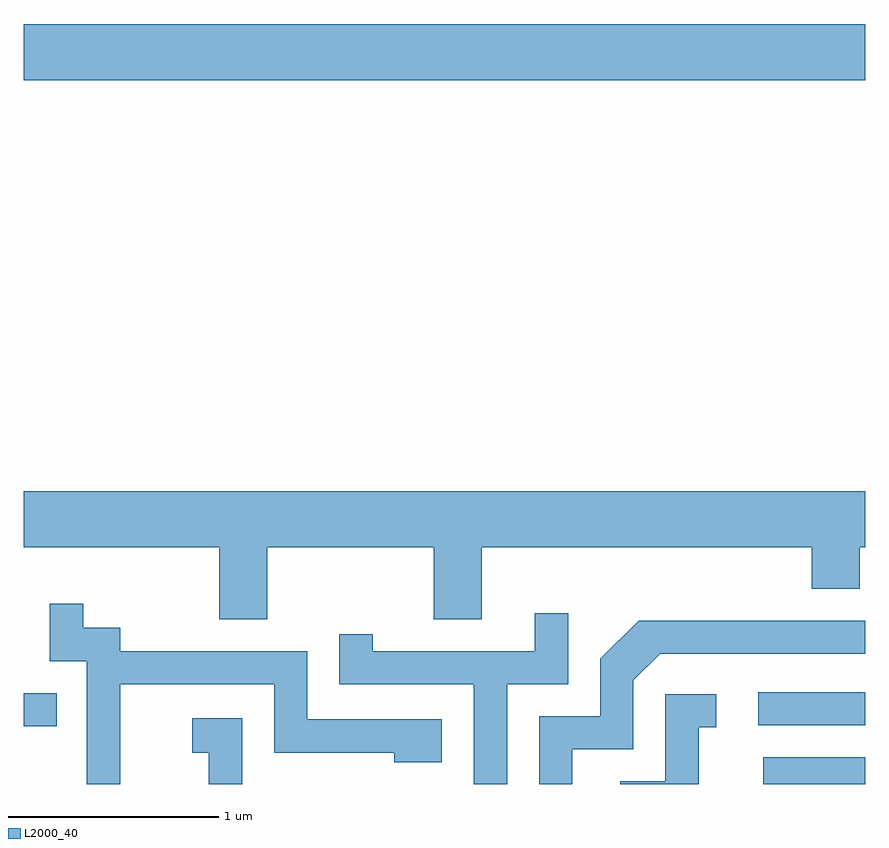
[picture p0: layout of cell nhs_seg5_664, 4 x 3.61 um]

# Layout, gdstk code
import gdstk
lib = gdstk.Library(unit=1e-6, precision=1e-09)
def R(c, l, rs):  # rectangles x0, y0, x1, y1
    for r in rs: c.add(gdstk.rectangle(r[:2], r[2:], *l))
def P(c, l, *ps):  # polygons
    for p in ps: c.add(gdstk.Polygon(p, *l))
L2000_40 = (2000, 40)

nhs_seg5_664 = lib.new_cell('nhs_seg5_664')
R(nhs_seg5_664, L2000_40, [(207.126,1500.072,207.611,1500.199), (203.611,1500.346,203.768,1500.504), (207.103,1500.351,207.611,1500.509), (203.611,1503.416,207.611,1503.684)])
P(nhs_seg5_664, L2000_40, [(204.769,1501.196),(205.561,1501.196),(205.561,1500.856),(205.789,1500.856),(205.789,1501.196),(207.356,1501.196),(207.356,1501.001),(207.584,1501.001),(207.584,1501.196),(207.611,1501.196),(207.611,1501.464),(203.611,1501.464),(203.611,1501.196),(204.541,1501.196),(204.541,1500.856),(204.769,1500.856)],
  [(204.069,1500.546),(204.801,1500.546),(204.801,1500.221),(205.371,1500.221),(205.371,1500.176),(205.599,1500.176),(205.599,1500.379),(204.959,1500.379),(204.959,1500.704),(204.069,1500.704),(204.069,1500.814),(203.894,1500.814),(203.894,1500.928),(203.736,1500.928),(203.736,1500.656),(203.911,1500.656),(203.911,1500.072),(204.069,1500.072)],
  [(205.909,1500.546),(206.199,1500.546),(206.199,1500.883),(206.041,1500.883),(206.041,1500.704),(205.269,1500.704),(205.269,1500.783),(205.111,1500.783),(205.111,1500.546),(205.751,1500.546),(205.751,1500.072),(205.909,1500.072)],
  [(206.219,1500.236),(206.509,1500.236),(206.509,1500.564),(206.637,1500.691),(207.611,1500.691),(207.611,1500.849),(206.534,1500.849),(206.351,1500.667),(206.351,1500.394),(206.061,1500.394),(206.061,1500.072),(206.219,1500.072)],
  [(206.819,1500.341),(206.903,1500.341),(206.903,1500.499),(206.661,1500.499),(206.661,1500.084),(206.446,1500.084),(206.446,1500.072),(206.819,1500.072)],
  [(204.649,1500.384),(204.413,1500.384),(204.413,1500.221),(204.491,1500.221),(204.491,1500.072),(204.649,1500.072)])

lib.write_gds('nhs_seg5_664.gds')
